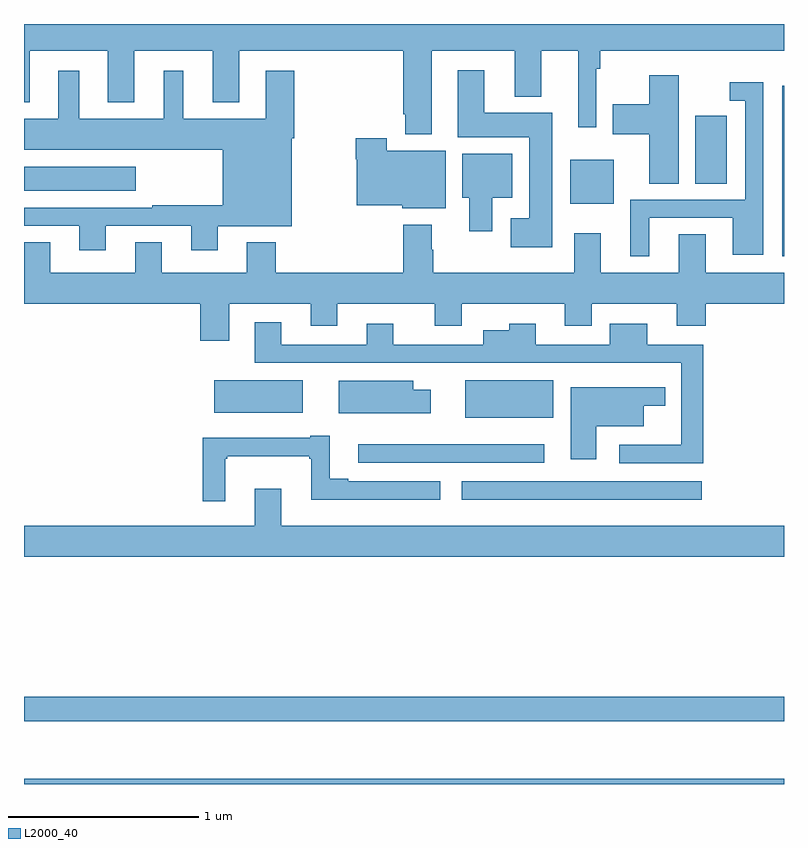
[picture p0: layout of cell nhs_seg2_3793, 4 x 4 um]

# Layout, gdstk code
import gdstk
lib = gdstk.Library(unit=1e-6, precision=1e-09)
def R(c, l, rs):  # rectangles x0, y0, x1, y1
    for r in rs: c.add(gdstk.rectangle(r[:2], r[2:], *l))
def P(c, l, *ps):  # polygons
    for p in ps: c.add(gdstk.Polygon(p, *l))
L2000_40 = (2000, 40)

nhs_seg2_3793 = lib.new_cell('nhs_seg2_3793')
R(nhs_seg2_3793, L2000_40, [(311,619.8,315,619.828), (311,620.13,315,620.258), (313.305,621.296,314.566,621.393), (312.759,621.492,313.738,621.589), (313.322,621.728,313.786,621.925), (312.002,621.755,312.466,621.925), (314.99,622.578,315,623.474), (313.874,622.853,314.104,623.086), (311,622.922,311.587,623.05), (314.534,622.96,314.698,623.317)])
P(nhs_seg2_3793, L2000_40, [(313.147,623.66),(313.583,623.66),(313.583,623.417),(313.723,623.417),(313.723,623.66),(313.916,623.66),(313.916,623.256),(314.013,623.256),(314.013,623.564),(314.033,623.564),(314.033,623.66),(315,623.66),(315,623.8),(311,623.8),(311,623.387),(311.029,623.387),(311.029,623.66),(311.441,623.66),(311.441,623.387),(311.581,623.387),(311.581,623.66),(311.993,623.66),(311.993,623.387),(312.133,623.387),(312.133,623.66),(312.995,623.66),(312.995,623.326),(313.007,623.326),(313.007,623.219),(313.147,623.219)],
  [(313.78,623.332),(313.423,623.332),(313.423,623.557),(313.283,623.557),(313.283,623.204),(313.658,623.204),(313.658,622.777),(313.563,622.777),(313.563,622.625),(313.78,622.625)],
  [(311.431,622.737),(311.879,622.737),(311.879,622.608),(312.019,622.608),(312.019,622.736),(312.409,622.736),(312.409,623.198),(312.422,623.198),(312.422,623.554),(312.272,623.554),(312.272,623.302),(311.839,623.302),(311.839,623.554),(311.735,623.554),(311.735,623.302),(311.29,623.302),(311.29,623.554),(311.18,623.554),(311.18,623.302),(311,623.302),(311,623.138),(312.047,623.138),(312.047,622.846),(311.674,622.846),(311.674,622.833),(311,622.833),(311,622.737),(311.291,622.737),(311.291,622.608),(311.431,622.608)],
  [(314.446,623.53),(314.291,623.53),(314.291,623.377),(314.098,623.377),(314.098,623.219),(314.291,623.219),(314.291,622.96),(314.446,622.96)],
  [(314.29,622.779),(314.729,622.779),(314.729,622.586),(314.892,622.586),(314.892,623.494),(314.715,623.494),(314.715,623.397),(314.796,623.397),(314.796,622.875),(314.192,622.875),(314.192,622.578),(314.29,622.578)],
  [(313.219,623.134),(312.91,623.134),(312.91,623.2),(312.745,623.2),(312.745,623.087),(312.752,623.087),(312.752,622.847),(312.99,622.847),(312.99,622.829),(313.219,622.829)],
  [(313.465,622.886),(313.57,622.886),(313.57,623.116),(313.307,623.116),(313.307,622.886),(313.343,622.886),(313.343,622.71),(313.465,622.71)],
  [(312.079,622.328),(312.509,622.328),(312.509,622.211),(312.649,622.211),(312.649,622.328),(313.163,622.328),(313.163,622.211),(313.303,622.211),(313.303,622.328),(313.847,622.328),(313.847,622.211),(313.987,622.211),(313.987,622.328),(314.435,622.328),(314.435,622.211),(314.588,622.211),(314.588,622.328),(315,622.328),(315,622.492),(314.587,622.492),(314.587,622.694),(314.447,622.694),(314.447,622.492),(314.035,622.492),(314.035,622.699),(313.895,622.699),(313.895,622.492),(313.155,622.492),(313.155,622.613),(313.147,622.613),(313.147,622.744),(312.995,622.744),(312.995,622.492),(312.326,622.492),(312.326,622.651),(312.173,622.651),(312.173,622.492),(311.725,622.492),(311.725,622.652),(311.585,622.652),(311.585,622.492),(311.137,622.492),(311.137,622.652),(311,622.652),(311,622.328),(311.927,622.328),(311.927,622.134),(312.079,622.134)],
  [(314.576,622.113),(314.281,622.113),(314.281,622.222),(314.084,622.222),(314.084,622.113),(313.693,622.113),(313.693,622.222),(313.553,622.222),(313.553,622.189),(313.418,622.189),(313.418,622.113),(312.943,622.113),(312.943,622.222),(312.803,622.222),(312.803,622.113),(312.355,622.113),(312.355,622.231),(312.215,622.231),(312.215,622.017),(314.46,622.017),(314.46,621.587),(314.459,621.587),(314.459,621.585),(314.133,621.585),(314.133,621.489),(314.576,621.489)],
  [(313.141,621.874),(313.048,621.874),(313.048,621.922),(312.656,621.922),(312.656,621.752),(313.141,621.752)],
  [(314.011,621.683),(314.263,621.683),(314.263,621.791),(314.375,621.791),(314.375,621.887),(314.267,621.887),(314.267,621.889),(313.877,621.889),(313.877,621.51),(314.011,621.51)],
  [(312.058,621.513),(312.07,621.513),(312.07,621.524),(312.501,621.524),(312.501,621.513),(312.512,621.513),(312.512,621.296),(313.192,621.296),(313.192,621.393),(312.706,621.393),(312.706,621.406),(312.61,621.406),(312.61,621.634),(312.506,621.634),(312.506,621.622),(311.941,621.622),(311.941,621.288),(312.058,621.288)],
  [(315,621.16),(312.355,621.16),(312.355,621.355),(312.215,621.355),(312.215,621.16),(311,621.16),(311,620.996),(315,620.996)])

lib.write_gds('nhs_seg2_3793.gds')
